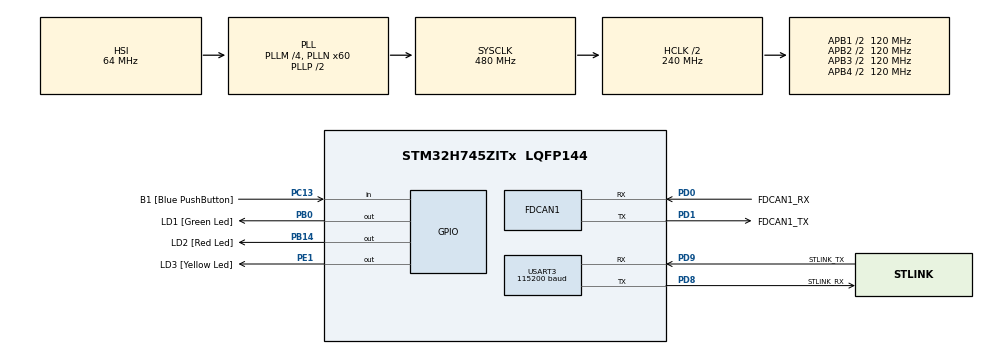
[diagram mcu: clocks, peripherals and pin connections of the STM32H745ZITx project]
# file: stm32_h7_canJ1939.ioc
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CortexM4.IPs=BDMA,CORTEX_M4\:I,DEBUG,DMA,FATFS_M4\:I,FREERTOS_M4\:I,GPIO,IWDG2\:I,MDMA,NVIC2\:I,OPENAMP_M4\:I,PDM2PCM_M4\:I,PWR,RCC,RESMGR_UTILITY,SYS_M4\:I,USB_DEVICE_M4\:I,USB_HOST_M4\:I,VREFBUF,WWDG2\:I,USART3
CortexM4.Pins=PE1
CortexM7.IPs=BDMA\:I,CORTEX_M7\:I,DEBUG\:I,DMA\:I,FATFS_M7\:I,FREERTOS_M7\:I,GPIO\:I,IWDG1\:I,MDMA\:I,NVIC1\:I,OPENAMP_M7\:I,PDM2PCM_M7\:I,PWR\:I,RCC\:I,RESMGR_UTILITY\:I,SYS\:I,USB_DEVICE_M7\:I,USB_HOST_M7\:I,VREFBUF\:I,WWDG1\:I,USART3\:I,FDCAN1\:I
CortexM7.Pins=PC13,PB0,PB14
FDCAN1.CalculateBaudRateNominal=250000
FDCAN1.CalculateTimeBitNominal=4000
FDCAN1.CalculateTimeQuantumNominal=50.0
FDCAN1.Mode=FDCAN_MODE_NORMAL
FDCAN1.NominalPrescaler=2
FDCAN1.NominalSyncJumpWidth=8
FDCAN1.NominalTimeSeg1=0x3F
FDCAN1.NominalTimeSeg2=16
FDCAN1.ProtocolException=ENABLE
FDCAN1.RxFifo0ElmtsNbr=1
FDCAN1.StdFiltersNbr=1
FDCAN1.TxFifoQueueElmtsNbr=1
Mcu.Family=STM32H7
Mcu.Name=STM32H745ZITx
Mcu.Package=LQFP144
NVIC1.PriorityGroup=NVIC_PRIORITYGROUP_4
NVIC2.PriorityGroup=NVIC_PRIORITYGROUP_4
PA13\ (JTMS/SWDIO).Mode=Serial_Wire
PA13\ (JTMS/SWDIO).PinAttribute=CortexM7
PA13\ (JTMS/SWDIO).Signal=DEBUG_JTMS-SWDIO
PA14\ (JTCK/SWCLK).Mode=Serial_Wire
PA14\ (JTCK/SWCLK).PinAttribute=CortexM7
PA14\ (JTCK/SWCLK).Signal=DEBUG_JTCK-SWCLK
PB0.GPIO_Label=LD1 [Green Led]
PB0.PinAttribute=CortexM7
PB0.Signal=GPIO_Output
PB14.GPIO_Label=LD2 [Red Led]
PB14.PinAttribute=CortexM7
PB14.Signal=GPIO_Output
PC13.GPIO_Label=B1 [Blue PushButton]
PC13.PinAttribute=CortexM7
PC13.Signal=GPIO_Input
PC14-OSC32_IN\ (OSC32_IN).Mode=LSE-External-Oscillator
PC14-OSC32_IN\ (OSC32_IN).PinAttribute=CortexM7
PC14-OSC32_IN\ (OSC32_IN).Signal=RCC_OSC32_IN
PC15-OSC32_OUT\ (OSC32_OUT).Mode=LSE-External-Oscillator
PC15-OSC32_OUT\ (OSC32_OUT).PinAttribute=CortexM7
PC15-OSC32_OUT\ (OSC32_OUT).Signal=RCC_OSC32_OUT
PD0.GPIO_Label=FDCAN1_RX
PD0.GPIO_Speed=GPIO_SPEED_FREQ_VERY_HIGH
PD0.Mode=FDCAN_Activate
PD0.PinAttribute=CortexM7
PD0.Signal=FDCAN1_RX
PD1.GPIO_Label=FDCAN1_TX
PD1.GPIO_PuPd=GPIO_PULLUP
PD1.GPIO_Speed=GPIO_SPEED_FREQ_VERY_HIGH
PD1.Mode=FDCAN_Activate
PD1.PinAttribute=CortexM7
PD1.Signal=FDCAN1_TX
PD8.GPIO_Label=STLINK_RX
PD8.Mode=Asynchronous
PD8.PinAttribute=CortexM7
PD8.Signal=USART3_TX
PD9.GPIO_Label=STLINK_TX
PD9.Mode=Asynchronous
PD9.PinAttribute=CortexM7
PD9.Signal=USART3_RX
PE1.GPIO_Label=LD3 [Yellow Led]
PE1.PinAttribute=CortexM4
PE1.Signal=GPIO_Output
PH0-OSC_IN\ (PH0).Mode=HSE-External-Clock-Source
PH0-OSC_IN\ (PH0).PinAttribute=CortexM7
PH0-OSC_IN\ (PH0).Signal=RCC_OSC_IN
ProjectManager.HeapSize=M4-0x200,M7-0x200
ProjectManager.StackSize=M4-0x400,M7-0x400
ProjectManager.TargetToolchain=STM32CubeIDE
RCC.ADCFreq_Value=72000000
RCC.APB1Freq_Value=120000000
RCC.APB2Freq_Value=120000000
RCC.APB3Freq_Value=120000000
RCC.APB4Freq_Value=120000000
RCC.CortexFreq_Value=480000000
RCC.D1PPRE=RCC_APB3_DIV2
RCC.D2PPRE1=RCC_APB1_DIV2
RCC.D2PPRE2=RCC_APB2_DIV2
RCC.D3PPRE=RCC_APB4_DIV2
RCC.DIVM1=4
RCC.DIVM2=4
RCC.DIVN1=60
RCC.DIVN2=9
RCC.DIVQ1=24
RCC.HCLKFreq_Value=240000000
RCC.HPRE=RCC_HCLK_DIV2
RCC.HSE_VALUE=8000000
RCC.SYSCLKFreq_VALUE=480000000
RCC.SYSCLKSource=RCC_SYSCLKSOURCE_PLLCLK
RCC.USBFreq_Value=40000000
SYS.userName=SYS_M7
USART3.BaudRate=115200
USART3.VirtualMode-Asynchronous=VM_ASYNC
VP_SYS_M4_VS_Systick.Mode=SysTick
board=custom

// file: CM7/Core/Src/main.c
/* USER CODE BEGIN Header */
/**
  ******************************************************************************
  * @file           : main.c
  * @brief          : Main program body
  ******************************************************************************
  * @attention
  *
  * Copyright (c) 2023 STMicroelectronics.
  * All rights reserved.
  *
  * This software is licensed under terms that can be found in the LICENSE file
  * in the root directory of this software component.
  * If no LICENSE file comes with this software, it is provided AS-IS.
  *
  ******************************************************************************
  */
/* USER CODE END Header */
#include "main.h"

/* USER CODE BEGIN Includes */
#include "myprintf.h"
/* USER CODE END Includes */

/* USER CODE BEGIN PD */

#ifndef HSEM_ID_0
#define HSEM_ID_0 (0U) /* HW semaphore 0*/
#endif
/* USER CODE END PD */

FDCAN_HandleTypeDef hfdcan1;

UART_HandleTypeDef huart3;

/* USER CODE BEGIN PV */
FDCAN_FilterTypeDef sFilterConfig;
FDCAN_TxHeaderTypeDef TxHeader;
FDCAN_RxHeaderTypeDef RxHeader;
uint8_t TxData1[8] = {0x01, 0x01, 0xFF, 0xFF, 0xFF, 0xFF, 0xFF, 0xFF};
uint8_t TxData2[8] = {0x00, 0x00, 0xFF, 0xFF, 0xFF, 0xFF, 0x01, 0x01};
uint8_t TxData3[8] = {0xFF, 0x33, 0xFF, 0xFF, 0xFF, 0xFF, 0xFF, 0xFF};
uint8_t TxData4[8] = {0xFF, 0x00, 0xFF, 0xFF, 0xFF, 0xFF, 0xFF, 0xFF};

uint8_t RxData[8];
/* USER CODE END PV */

void SystemClock_Config(void);
static void MX_GPIO_Init(void);
static void MX_USART3_UART_Init(void);
static void MX_FDCAN1_Init(void);

int main(void)
{
/* USER CODE BEGIN Boot_Mode_Sequence_0 */
  int32_t timeout;
/* USER CODE END Boot_Mode_Sequence_0 */

/* USER CODE BEGIN Boot_Mode_Sequence_1 */
  /* Wait until CPU2 boots and enters in stop mode or timeout*/
  timeout = 0xFFFF;
  while((__HAL_RCC_GET_FLAG(RCC_FLAG_D2CKRDY) != RESET) && (timeout-- > 0));
  if ( timeout < 0 )
  {
  Error_Handler();
  }
/* USER CODE END Boot_Mode_Sequence_1 */
  /* MCU Configuration--------------------------------------------------------*/

  /* Reset of all peripherals, Initializes the Flash interface and the Systick. */
  HAL_Init();

  /* Configure the system clock */
  SystemClock_Config();
/* USER CODE BEGIN Boot_Mode_Sequence_2 */
/* When system initialization is finished, Cortex-M7 will release Cortex-M4 by means of
HSEM notification */
/*HW semaphore Clock enable*/
__HAL_RCC_HSEM_CLK_ENABLE();
/*Take HSEM */
HAL_HSEM_FastTake(HSEM_ID_0);
/*Release HSEM in order to notify the CPU2(CM4)*/
HAL_HSEM_Release(HSEM_ID_0,0);
/* wait until CPU2 wakes up from stop mode */
timeout = 0xFFFF;
while((__HAL_RCC_GET_FLAG(RCC_FLAG_D2CKRDY) == RESET) && (timeout-- > 0));
if ( timeout < 0 )
{
Error_Handler();
}
/* USER CODE END Boot_Mode_Sequence_2 */

  /* Initialize all configured peripherals */
  MX_GPIO_Init();
  MX_USART3_UART_Init();
  MX_FDCAN1_Init();

  /* Infinite loop */
  /* USER CODE BEGIN WHILE */
  printf("Hello World\n\r");
  while (1){

	  /*while (HAL_FDCAN_GetRxMessage(&hfdcan1, FDCAN_RX_FIFO0, &RxHeader, RxData) != HAL_OK);
	  	  //HAL_Delay(10);
	  	  printf("\n\rcan1: %lx", RxHeader.Identifier);
	  	  printf(" [%X]", (unsigned int)RxHeader.DataLength >> 16);

	  	  if(RxHeader.DataLength >> 16 == 2){
	  		  printf(" %02X %02X", RxData[0], RxData[1]);
	  	  }else{
	  		  printf(" %02X %02X %02X %02X %02X %02X %02X %02X", RxData[0], RxData[1],
	  														     RxData[2], RxData[3],
	  														     RxData[4], RxData[5],
	  														     RxData[6], RxData[7]);

	  	  }
*/
	  TxHeader.Identifier = 0x0CFF14A3;
	  HAL_FDCAN_AddMessageToTxFifoQ(&hfdcan1, &TxHeader, TxData1);
	  HAL_Delay(1000);
	  HAL_FDCAN_AddMessageToTxFifoQ(&hfdcan1, &TxHeader, TxData2);
	  HAL_Delay(1000);

	  TxHeader.Identifier = 0x00FEFCA3;
	  HAL_FDCAN_AddMessageToTxFifoQ(&hfdcan1, &TxHeader, TxData3);
	  HAL_Delay(7000);
	  HAL_FDCAN_AddMessageToTxFifoQ(&hfdcan1, &TxHeader, TxData4);
	  HAL_Delay(7000);
    /* USER CODE END WHILE */

  }
}

void SystemClock_Config(void)
{
  RCC_OscInitTypeDef RCC_OscInitStruct = {0};
  RCC_ClkInitTypeDef RCC_ClkInitStruct = {0};

  /** Supply configuration update enable
  */
  HAL_PWREx_ConfigSupply(PWR_DIRECT_SMPS_SUPPLY);

  /** Configure the main internal regulator output voltage
  */
  __HAL_PWR_VOLTAGESCALING_CONFIG(PWR_REGULATOR_VOLTAGE_SCALE0);

  while(!__HAL_PWR_GET_FLAG(PWR_FLAG_VOSRDY)) {}

  /** Initializes the RCC Oscillators according to the specified parameters
  * in the RCC_OscInitTypeDef structure.
  */
  RCC_OscInitStruct.OscillatorType = RCC_OSCILLATORTYPE_HSI;
  RCC_OscInitStruct.HSIState = RCC_HSI_DIV1;
  RCC_OscInitStruct.HSICalibrationValue = RCC_HSICALIBRATION_DEFAULT;
  RCC_OscInitStruct.PLL.PLLState = RCC_PLL_ON;
  RCC_OscInitStruct.PLL.PLLSource = RCC_PLLSOURCE_HSI;
  RCC_OscInitStruct.PLL.PLLM = 4;
  RCC_OscInitStruct.PLL.PLLN = 60;
  RCC_OscInitStruct.PLL.PLLP = 2;
  RCC_OscInitStruct.PLL.PLLQ = 24;
  RCC_OscInitStruct.PLL.PLLR = 2;
  RCC_OscInitStruct.PLL.PLLRGE = RCC_PLL1VCIRANGE_3;
  RCC_OscInitStruct.PLL.PLLVCOSEL = RCC_PLL1VCOWIDE;
  RCC_OscInitStruct.PLL.PLLFRACN = 0;
  if (HAL_RCC_OscConfig(&RCC_OscInitStruct) != HAL_OK)
  {
    Error_Handler();
  }

  /** Initializes the CPU, AHB and APB buses clocks
  */
  RCC_ClkInitStruct.ClockType = RCC_CLOCKTYPE_HCLK|RCC_CLOCKTYPE_SYSCLK
                              |RCC_CLOCKTYPE_PCLK1|RCC_CLOCKTYPE_PCLK2
                              |RCC_CLOCKTYPE_D3PCLK1|RCC_CLOCKTYPE_D1PCLK1;
  RCC_ClkInitStruct.SYSCLKSource = RCC_SYSCLKSOURCE_PLLCLK;
  RCC_ClkInitStruct.SYSCLKDivider = RCC_SYSCLK_DIV1;
  RCC_ClkInitStruct.AHBCLKDivider = RCC_HCLK_DIV2;
  RCC_ClkInitStruct.APB3CLKDivider = RCC_APB3_DIV2;
  RCC_ClkInitStruct.APB1CLKDivider = RCC_APB1_DIV2;
  RCC_ClkInitStruct.APB2CLKDivider = RCC_APB2_DIV2;
  RCC_ClkInitStruct.APB4CLKDivider = RCC_APB4_DIV2;

  if (HAL_RCC_ClockConfig(&RCC_ClkInitStruct, FLASH_LATENCY_4) != HAL_OK)
  {
    Error_Handler();
  }
}

static void MX_FDCAN1_Init(void)
{

  hfdcan1.Instance = FDCAN1;
  hfdcan1.Init.FrameFormat = FDCAN_FRAME_CLASSIC;
  hfdcan1.Init.Mode = FDCAN_MODE_NORMAL;
  hfdcan1.Init.AutoRetransmission = DISABLE;
  hfdcan1.Init.TransmitPause = DISABLE;
  hfdcan1.Init.ProtocolException = ENABLE;
  hfdcan1.Init.NominalPrescaler = 2;
  hfdcan1.Init.NominalSyncJumpWidth = 8;
  hfdcan1.Init.NominalTimeSeg1 = 0x3F;
  hfdcan1.Init.NominalTimeSeg2 = 16;
  hfdcan1.Init.DataPrescaler = 1;
  hfdcan1.Init.DataSyncJumpWidth = 1;
  hfdcan1.Init.DataTimeSeg1 = 1;
  hfdcan1.Init.DataTimeSeg2 = 1;
  hfdcan1.Init.MessageRAMOffset = 0;
  hfdcan1.Init.StdFiltersNbr = 1;
  hfdcan1.Init.ExtFiltersNbr = 0;
  hfdcan1.Init.RxFifo0ElmtsNbr = 1;
  hfdcan1.Init.RxFifo0ElmtSize = FDCAN_DATA_BYTES_8;
  hfdcan1.Init.RxFifo1ElmtsNbr = 0;
  hfdcan1.Init.RxFifo1ElmtSize = FDCAN_DATA_BYTES_8;
  hfdcan1.Init.RxBuffersNbr = 0;
  hfdcan1.Init.RxBufferSize = FDCAN_DATA_BYTES_8;
  hfdcan1.Init.TxEventsNbr = 0;
  hfdcan1.Init.TxBuffersNbr = 0;
  hfdcan1.Init.TxFifoQueueElmtsNbr = 1;
  hfdcan1.Init.TxFifoQueueMode = FDCAN_TX_FIFO_OPERATION;
  hfdcan1.Init.TxElmtSize = FDCAN_DATA_BYTES_8;
  if (HAL_FDCAN_Init(&hfdcan1) != HAL_OK)
  {
    Error_Handler();
  }
  /* USER CODE BEGIN FDCAN1_Init 2 */
  /*AAO+*/
  	  /* Configure Rx filter */
     sFilterConfig.IdType = FDCAN_EXTENDED_ID;
     sFilterConfig.FilterIndex = 0;
     sFilterConfig.FilterType = FDCAN_FILTER_MASK;
     sFilterConfig.FilterConfig = FDCAN_FILTER_TO_RXFIFO0;
     sFilterConfig.FilterID1 = 0x00;
     sFilterConfig.FilterID2 = 0x00;
	 /*Filtrar especificamente 3F8
	 sFilterConfig.FilterID1 = 0x611;
	 sFilterConfig.FilterID2 = 0xFFF;
	  */
     /* Configure global filter to reject all non-matching frames */
     //HAL_FDCAN_ConfigGlobalFilter(&hfdcan1, FDCAN_REJECT, FDCAN_REJECT, FDCAN_REJECT_REMOTE, FDCAN_REJECT_REMOTE);

     if (HAL_FDCAN_ConfigFilter(&hfdcan1, &sFilterConfig) != HAL_OK)
       {
          /* Filter configuration Error */
          Error_Handler();
       }
      /* Start the FDCAN module */
     if (HAL_FDCAN_Start(&hfdcan1) != HAL_OK) {
       }
          /* Start Error */
     if (HAL_FDCAN_ActivateNotification(&hfdcan1, FDCAN_IT_RX_FIFO0_NEW_MESSAGE, 0) != HAL_OK) {
       }
          /* Notification Error */

      /* Configure Tx buffer message */
     //TxHeader.Identifier = 0x0CFEFCA3;
     //TxHeader.Identifier = 0x0CFF14A3;
     TxHeader.IdType = FDCAN_EXTENDED_ID;
     TxHeader.TxFrameType = FDCAN_DATA_FRAME;
     TxHeader.DataLength = FDCAN_DLC_BYTES_8;
     TxHeader.ErrorStateIndicator = FDCAN_ESI_ACTIVE;
     TxHeader.BitRateSwitch = FDCAN_BRS_ON;
     TxHeader.FDFormat = FDCAN_FD_CAN;
     TxHeader.TxEventFifoControl = FDCAN_NO_TX_EVENTS;
     TxHeader.MessageMarker = 0x00;
    /*AAO-*/
  /* USER CODE END FDCAN1_Init 2 */

}

static void MX_USART3_UART_Init(void)
{

  huart3.Instance = USART3;
  huart3.Init.BaudRate = 115200;
  huart3.Init.WordLength = UART_WORDLENGTH_8B;
  huart3.Init.StopBits = UART_STOPBITS_1;
  huart3.Init.Parity = UART_PARITY_NONE;
  huart3.Init.Mode = UART_MODE_TX_RX;
  huart3.Init.HwFlowCtl = UART_HWCONTROL_NONE;
  huart3.Init.OverSampling = UART_OVERSAMPLING_16;
  huart3.Init.OneBitSampling = UART_ONE_BIT_SAMPLE_DISABLE;
  huart3.Init.ClockPrescaler = UART_PRESCALER_DIV1;
  huart3.AdvancedInit.AdvFeatureInit = UART_ADVFEATURE_NO_INIT;
  if (HAL_UART_Init(&huart3) != HAL_OK)
  {
    Error_Handler();
  }
  if (HAL_UARTEx_SetTxFifoThreshold(&huart3, UART_TXFIFO_THRESHOLD_1_8) != HAL_OK)
  {
    Error_Handler();
  }
  if (HAL_UARTEx_SetRxFifoThreshold(&huart3, UART_RXFIFO_THRESHOLD_1_8) != HAL_OK)
  {
    Error_Handler();
  }
  if (HAL_UARTEx_DisableFifoMode(&huart3) != HAL_OK)
  {
    Error_Handler();
  }

}

static void MX_GPIO_Init(void)
{
  GPIO_InitTypeDef GPIO_InitStruct = {0};

  /* GPIO Ports Clock Enable */
  __HAL_RCC_GPIOC_CLK_ENABLE();
  __HAL_RCC_GPIOH_CLK_ENABLE();
  __HAL_RCC_GPIOB_CLK_ENABLE();
  __HAL_RCC_GPIOD_CLK_ENABLE();
  __HAL_RCC_GPIOA_CLK_ENABLE();

  /*Configure GPIO pin Output Level */
  HAL_GPIO_WritePin(GPIOB, LD1_Pin|LD2_Pin, GPIO_PIN_RESET);

  /*Configure GPIO pin : B1_Pin */
  GPIO_InitStruct.Pin = B1_Pin;
  GPIO_InitStruct.Mode = GPIO_MODE_INPUT;
  GPIO_InitStruct.Pull = GPIO_NOPULL;
  HAL_GPIO_Init(B1_GPIO_Port, &GPIO_InitStruct);

  /*Configure GPIO pins : LD1_Pin LD2_Pin */
  GPIO_InitStruct.Pin = LD1_Pin|LD2_Pin;
  GPIO_InitStruct.Mode = GPIO_MODE_OUTPUT_PP;
  GPIO_InitStruct.Pull = GPIO_NOPULL;
  GPIO_InitStruct.Speed = GPIO_SPEED_FREQ_LOW;
  HAL_GPIO_Init(GPIOB, &GPIO_InitStruct);

}

void Error_Handler(void)
{
  __disable_irq();
  while (1)
  {
  }
}
